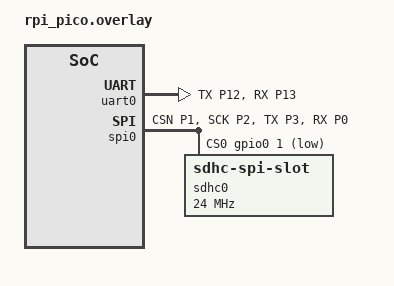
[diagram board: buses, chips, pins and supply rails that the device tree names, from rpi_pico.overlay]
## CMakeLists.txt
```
cmake_minimum_required(VERSION 3.20.0)
set(CMAKE_CXX_STANDARD 17)
set(BOARD rpi_pico)

#include_directories(include)
#list(APPEND ZEPHYR_EXTRA_MODULES ${CMAKE_CURRENT_SOURCE_DIR}/drivers)

find_package(Zephyr REQUIRED HINTS $ENV{ZEPHYR_BASE})
project(prove_sd)

#include_directories(src)
file(GLOB_RECURSE SRCS src/**.cpp)
target_sources(app PRIVATE ${SRCS})
```

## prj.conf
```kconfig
CONFIG_CPLUSPLUS=y
CONFIG_NEWLIB_LIBC=y
CONFIG_LIB_CPLUSPLUS=y
CONFIG_NEWLIB_LIBC_FLOAT_PRINTF=y
CONFIG_CBPRINTF_FP_SUPPORT=y
CONFIG_SMF=y
CONFIG_I2C=y
CONFIG_SENSOR=y
CONFIG_LOG=y
CONFIG_PWM=y
CONFIG_SERIAL=y
CONFIG_ADC=y
CONFIG_ADC_ASYNC=y
CONFIG_GPIO=y
CONFIG_PINCTRL=y

# Storage related
CONFIG_SPI=y
CONFIG_SPI_NRFX_RAM_BUFFER_SIZE=64

# Filesystem
CONFIG_DISK_ACCESS=y
CONFIG_FILE_SYSTEM=y
CONFIG_FAT_FILESYSTEM_ELM=y
CONFIG_FS_FATFS_EXFAT=y

# Add external flash
CONFIG_DISK_DRIVER_SDMMC=y
CONFIG_MAIN_STACK_SIZE=4096
```

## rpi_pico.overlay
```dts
&pinctrl {
    myspi0: myspi0 {
        group1 {
            pinmux = <SPI0_CSN_P1>, <SPI0_SCK_P2>, <SPI0_TX_P3>;
        };
        group2 {
            pinmux = <SPI0_RX_P0>;
            input-enable;
        };
    };

    uart_serial: uart_serial {
		group1 {
			pinmux = <UART0_TX_P12>;
		};
		group2 {
			pinmux = <UART0_RX_P13>;
			input-enable;
		};
	};
};

&uart0 {
	status = "okay";
	pinctrl-0 = <&uart_serial>;
};

&spi0 {
    status = "okay";
    // clock-frequency = <DT_FREQ_M(8)>;
    pinctrl-0 = <&myspi0>;
    pinctrl-names = "default";
    cs-gpios = <&gpio0 1 GPIO_ACTIVE_LOW>;
    sdhc0: sdhc@0 {
        compatible = "zephyr,sdhc-spi-slot";
        reg = <0>;
        status = "okay";
        mmc {
            compatible = "zephyr,sdmmc-disk";
            status = "okay";
        };
        // spi-max-frequency = <15900000>;
        spi-max-frequency = <24000000>;
    };
};
 
```

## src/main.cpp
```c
#include <stdio.h>
#include <inttypes.h>
#include <stddef.h>
#include <stdint.h>
#include "drivers/sdcard/sdcard.hpp"

#include <zephyr/device.h>
#include <zephyr/logging/log.h>
#include <zephyr/storage/disk_access.h>
#include <zephyr/fs/fs.h>
#include <ff.h>

//3v3, CS, MOSI, CLK, MISO, GND
//MISO: RX
//MOSI: TX

int main() {
	drivers::sdcard::SDCard sd;

	sd.init();
	std::string p = "23.3,324.2";
	sd.writeTelemetry("aa");

	return 0;
}
```
